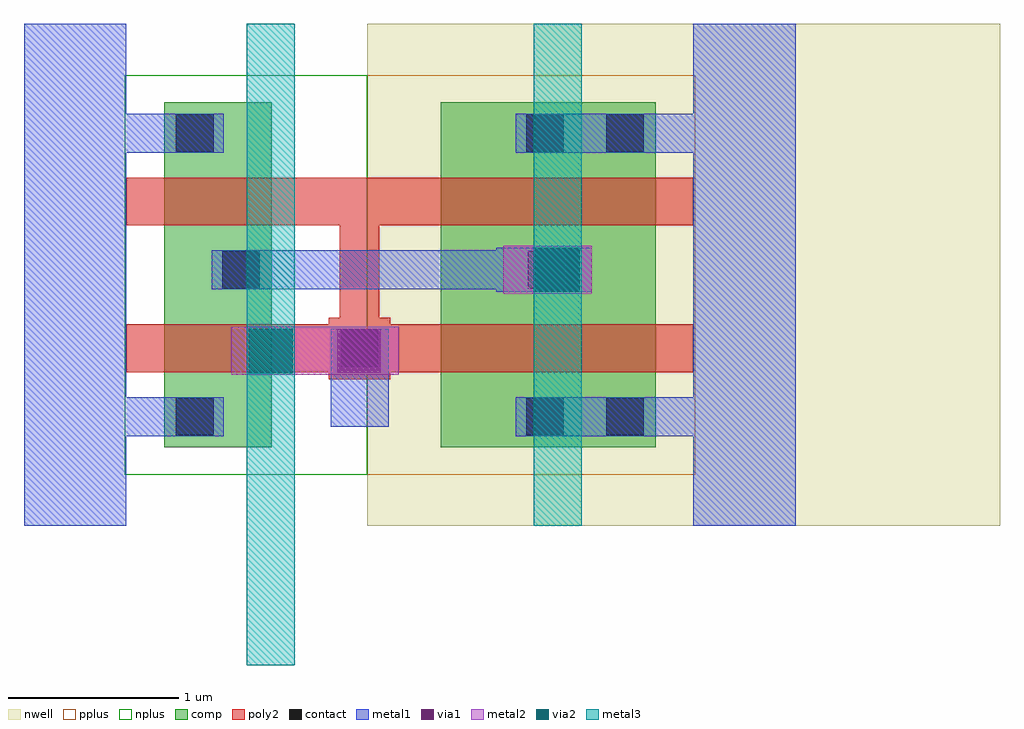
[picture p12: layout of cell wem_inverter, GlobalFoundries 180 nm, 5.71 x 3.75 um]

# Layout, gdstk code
import gdstk
lib = gdstk.Library(unit=1e-6, precision=5e-09)
def R(c, l, rs):  # rectangles x0, y0, x1, y1
    for r in rs: c.add(gdstk.rectangle(r[:2], r[2:], *l))
nwell = (21, 0)
comp = (22, 0)
poly2 = (30, 0)
pplus = (31, 0)
nplus = (32, 0)
contact = (33, 0)
metal1 = (34, 0)
via1 = (35, 0)
metal2 = (36, 0)
via2 = (38, 0)
metal3 = (42, 0)

wem_inverter = lib.new_cell('wem_inverter')
R(wem_inverter, nwell, [(-6.38,5.265,-2.675,8.205)])
R(wem_inverter, comp, [(-7.57,5.725,-6.94,7.745), (-5.95,5.725,-4.69,7.745)])
R(wem_inverter, poly2, [(-6.605,6.125,-6.245,6.485), (-7.79,6.165,-4.47,6.445), (-6.54,6.485,-6.31,7.025), (-7.79,7.025,-4.47,7.305)])
R(wem_inverter, pplus, [(-6.38,5.565,-4.46,7.905)])
R(wem_inverter, nplus, [(-7.8,5.565,-6.38,7.905)])
R(wem_inverter, contact, [(-7.5,5.795,-7.28,6.015), (-5.45,5.795,-5.23,6.015), (-4.98,5.795,-4.76,6.015), (-6.535,6.195,-6.315,6.415), (-7.23,6.655,-7.01,6.875), (-5.44,6.655,-5.22,6.875), (-7.5,7.455,-7.28,7.675), (-5.45,7.455,-5.23,7.675), (-4.98,7.455,-4.76,7.675)])
R(wem_inverter, metal1, [(-8.39,5.265,-7.79,8.205), (-4.47,5.265,-3.87,8.205), (-7.79,5.79,-7.22,6.02), (-5.51,5.79,-4.47,6.02), (-6.595,5.845,-6.255,6.42), (-5.625,6.635,-5.065,6.895), (-7.29,6.65,-5.16,6.88), (-7.79,7.45,-7.22,7.68), (-5.51,7.45,-4.47,7.68)])
R(wem_inverter, via1, [(-6.56,6.16,-6.3,6.42), (-5.395,6.635,-5.135,6.895)])
R(wem_inverter, metal2, [(-7.175,6.15,-6.195,6.43), (-5.585,6.625,-5.065,6.905)])
R(wem_inverter, via2, [(-7.075,6.16,-6.815,6.42), (-5.395,6.635,-5.135,6.895)])
R(wem_inverter, metal3, [(-7.085,4.45,-6.805,8.205), (-5.405,5.265,-5.125,8.205)])

lib.write_gds('wem_inverter.gds')
